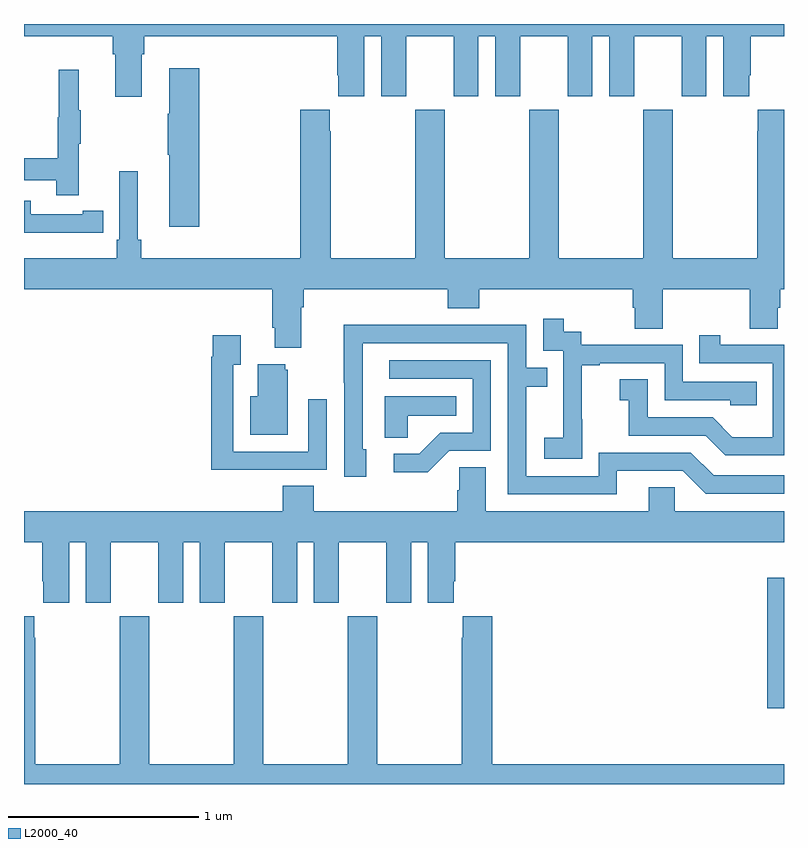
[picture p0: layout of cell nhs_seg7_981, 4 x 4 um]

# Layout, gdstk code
import gdstk
lib = gdstk.Library(unit=1e-6, precision=1e-09)
def R(c, l, rs):  # rectangles x0, y0, x1, y1
    for r in rs: c.add(gdstk.rectangle(r[:2], r[2:], *l))
def P(c, l, *ps):  # polygons
    for p in ps: c.add(gdstk.Polygon(p, *l))
L2000_40 = (2000, 40)

nhs_seg7_981 = lib.new_cell('nhs_seg7_981')
R(nhs_seg7_981, L2000_40, [(186.913,1010.4,187,1011.085)])
P(nhs_seg7_981, L2000_40, [(183.619,1013.84),(183.632,1013.84),(183.632,1013.936),(184.649,1013.936),(184.649,1013.731),(184.655,1013.731),(184.655,1013.619),(184.792,1013.619),(184.792,1013.936),(184.88,1013.936),(184.88,1013.619),(185.011,1013.619),(185.011,1013.936),(185.261,1013.936),(185.261,1013.619),(185.392,1013.619),(185.392,1013.936),(185.48,1013.936),(185.48,1013.619),(185.611,1013.619),(185.611,1013.936),(185.861,1013.936),(185.861,1013.619),(185.992,1013.619),(185.992,1013.936),(186.08,1013.936),(186.08,1013.619),(186.211,1013.619),(186.211,1013.936),(186.461,1013.936),(186.461,1013.619),(186.592,1013.619),(186.592,1013.936),(186.68,1013.936),(186.68,1013.619),(186.817,1013.619),(186.817,1013.731),(186.824,1013.731),(186.824,1013.936),(187,1013.936),(187,1014),(183,1014),(183,1013.936),(183.467,1013.936),(183.467,1013.84),(183.479,1013.84),(183.479,1013.616),(183.619,1013.616)],
  [(183.923,1013.767),(183.764,1013.767),(183.764,1013.528),(183.757,1013.528),(183.757,1013.311),(183.764,1013.311),(183.764,1012.932),(183.923,1012.932)],
  [(183.287,1013.371),(183.298,1013.371),(183.298,1013.545),(183.287,1013.545),(183.287,1013.758),(183.184,1013.758),(183.184,1013.508),(183.177,1013.508),(183.177,1013.294),(183,1013.294),(183,1013.178),(183.169,1013.178),(183.169,1013.1),(183.287,1013.1)],
  [(185.214,1013.548),(185.059,1013.548),(185.059,1012.768),(184.614,1012.768),(184.614,1013.435),(184.609,1013.435),(184.609,1013.548),(184.454,1013.548),(184.454,1012.768),(183.617,1012.768),(183.617,1012.864),(183.598,1012.864),(183.598,1013.224),(183.501,1013.224),(183.501,1012.864),(183.488,1012.864),(183.488,1012.768),(183,1012.768),(183,1012.604),(184.307,1012.604),(184.307,1012.402),(184.319,1012.402),(184.319,1012.295),(184.459,1012.295),(184.459,1012.508),(184.472,1012.508),(184.472,1012.604),(185.231,1012.604),(185.231,1012.505),(185.396,1012.505),(185.396,1012.604),(186.203,1012.604),(186.203,1012.506),(186.215,1012.506),(186.215,1012.396),(186.363,1012.396),(186.363,1012.604),(186.82,1012.604),(186.82,1012.396),(186.967,1012.396),(186.967,1012.506),(186.98,1012.506),(186.98,1012.604),(187,1012.604),(187,1013.548),(186.863,1013.548),(186.863,1013.435),(186.859,1013.435),(186.859,1012.768),(186.414,1012.768),(186.414,1013.548),(186.259,1013.548),(186.259,1012.768),(185.814,1012.768),(185.814,1013.548),(185.659,1013.548),(185.659,1012.768),(185.214,1012.768)],
  [(183.308,1012.902),(183.416,1012.902),(183.416,1013.018),(183.308,1013.018),(183.308,1012.998),(183.036,1012.998),(183.036,1013.07),(183,1013.07),(183,1012.901),(183.308,1012.901)],
  [(185.937,1011.919),(185.936,1011.919),(185.936,1012.203),(186.031,1012.203),(186.031,1012.215),(186.372,1012.215),(186.372,1012.02),(186.717,1012.02),(186.717,1011.993),(186.857,1011.993),(186.857,1012.116),(186.468,1012.116),(186.468,1012.311),(185.934,1012.311),(185.934,1012.38),(185.842,1012.38),(185.842,1012.45),(185.733,1012.45),(185.733,1012.281),(185.838,1012.281),(185.838,1012.052),(185.837,1012.052),(185.837,1011.823),(185.739,1011.823),(185.739,1011.713),(185.937,1011.713)],
  [(186.121,1011.648),(186.468,1011.648),(186.588,1011.528),(187,1011.528),(187,1011.624),(186.63,1011.624),(186.51,1011.744),(186.024,1011.744),(186.024,1011.621),(185.643,1011.621),(185.643,1012.09),(185.753,1012.09),(185.753,1012.191),(185.643,1012.191),(185.643,1012.416),(185.147,1012.416),(185.147,1012.418),(184.684,1012.418),(184.684,1012.111),(184.686,1012.111),(184.686,1011.618),(184.801,1011.618),(184.801,1011.762),(184.782,1011.762),(184.782,1012.32),(185.547,1012.32),(185.547,1011.525),(186.121,1011.525)],
  [(184.277,1011.654),(184.593,1011.654),(184.593,1012.024),(184.497,1012.024),(184.497,1011.75),(184.101,1011.75),(184.101,1012.207),(184.141,1012.207),(184.141,1012.363),(183.993,1012.363),(183.993,1012.25),(183.985,1012.25),(183.985,1011.653),(184.277,1011.653)],
  [(187,1012.311),(186.664,1012.311),(186.664,1012.363),(186.553,1012.363),(186.553,1012.215),(186.942,1012.215),(186.942,1011.826),(186.728,1011.826),(186.624,1011.93),(186.282,1011.93),(186.282,1012.129),(186.135,1012.129),(186.135,1012.019),(186.184,1012.019),(186.184,1011.834),(186.587,1011.834),(186.692,1011.729),(187,1011.729)],
  [(185.238,1011.753),(185.457,1011.753),(185.457,1012.23),(184.923,1012.23),(184.923,1012.134),(185.361,1012.134),(185.361,1011.849),(185.192,1011.849),(185.081,1011.738),(184.947,1011.738),(184.947,1011.641),(185.125,1011.641)],
  [(184.387,1012.179),(184.376,1012.179),(184.376,1012.21),(184.229,1012.21),(184.229,1012.042),(184.19,1012.042),(184.19,1011.839),(184.387,1011.839)],
  [(185.019,1011.938),(185.276,1011.938),(185.276,1012.042),(184.898,1012.042),(184.898,1011.823),(185.019,1011.823)],
  [(183,1011.272),(183.095,1011.272),(183.095,1011.067),(183.101,1011.067),(183.101,1010.955),(183.238,1010.955),(183.238,1011.272),(183.326,1011.272),(183.326,1010.955),(183.457,1010.955),(183.457,1011.272),(183.707,1011.272),(183.707,1010.955),(183.838,1010.955),(183.838,1011.272),(183.926,1011.272),(183.926,1010.955),(184.057,1010.955),(184.057,1011.272),(184.307,1011.272),(184.307,1010.955),(184.438,1010.955),(184.438,1011.272),(184.526,1011.272),(184.526,1010.955),(184.657,1010.955),(184.657,1011.272),(184.907,1011.272),(184.907,1010.955),(185.038,1010.955),(185.038,1011.272),(185.126,1011.272),(185.126,1010.955),(185.263,1010.955),(185.263,1011.067),(185.27,1011.067),(185.27,1011.272),(187,1011.272),(187,1011.436),(186.426,1011.436),(186.426,1011.563),(186.287,1011.563),(186.287,1011.436),(185.431,1011.436),(185.431,1011.668),(185.292,1011.668),(185.292,1011.545),(185.279,1011.545),(185.279,1011.436),(184.526,1011.436),(184.526,1011.569),(184.361,1011.569),(184.361,1011.436),(183,1011.436)],
  [(187,1010.104),(185.465,1010.104),(185.465,1010.884),(185.309,1010.884),(185.309,1010.771),(185.305,1010.771),(185.305,1010.104),(184.86,1010.104),(184.86,1010.884),(184.705,1010.884),(184.705,1010.104),(184.26,1010.104),(184.26,1010.884),(184.105,1010.884),(184.105,1010.104),(183.66,1010.104),(183.66,1010.884),(183.505,1010.884),(183.505,1010.104),(183.06,1010.104),(183.06,1010.771),(183.055,1010.771),(183.055,1010.884),(183,1010.884),(183,1010),(187,1010)])

lib.write_gds('nhs_seg7_981.gds')
